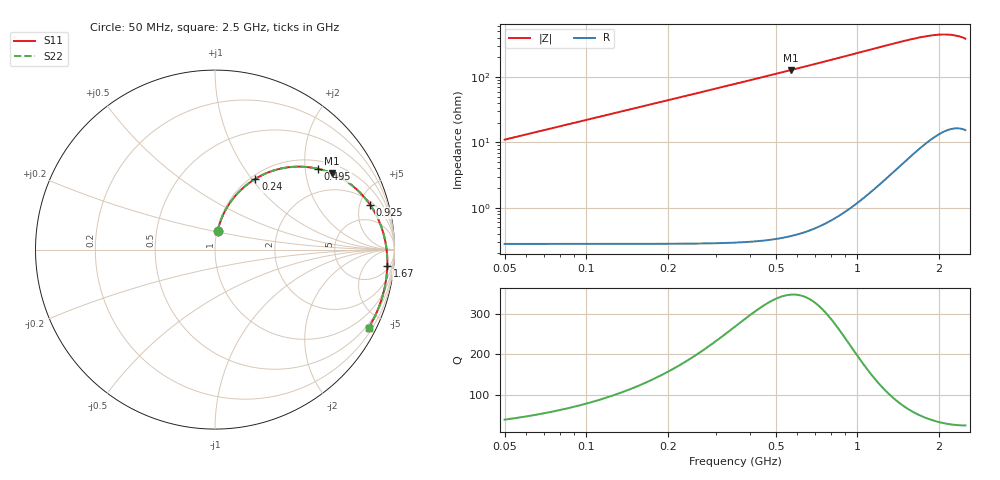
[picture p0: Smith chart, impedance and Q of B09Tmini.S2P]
! Coilcraft B09T_ Mini Spring Air Core Inductor
! 30 May 2003
# MHZ S MA R 50
!Freq  MagS11  AngS11  MagS21  AngS21  MagS12  AngS12  MagS22  AngS22
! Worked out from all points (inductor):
!   491 points, 50 MHz to 2.5 GHz, reference 50 ohm
!   read as one part in series: L = 35.1 nH near 60 MHz
!   highest Q = 347 at 570 MHz (marker M1), where L = 35.9 nH
!   S11 on the Smith chart (normalised r, x): 50 MHz: 1.01, +0.21; 240 MHz: 1.05, +1.04; 495 MHz: 1.22, +2.34; 925 MHz: 2.37, +6.18; 1.67 GHz: 7, -18; 2.5 GHz: 0.37, -4.13
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50  0.1052 82.0  0.9917 -6.5  0.9917 -6.5  0.1053 82.0
90  0.1872 77.5  0.9796 -11.7  0.9796 -11.7  0.1873 77.5
125  0.256 73.3  0.964 -16.1  0.964 -16.1  0.2561 73.3
175  0.3479 67.5  0.9349 -22.1  0.9349 -22.1  0.3481 67.5
240  0.4543 60.3  0.8883 -29.4  0.8883 -29.4  0.4545 60.3
290  0.5253 55.2  0.8484 -34.5  0.8484 -34.5  0.5255 55.2
340  0.5871 50.5  0.807 -39.3  0.807 -39.3  0.5874 50.5
395  0.6454 45.7  0.7614 -44.1  0.7614 -44.1  0.6457 45.7
460  0.7027 40.6  0.709 -49.2  0.709 -49.2  0.7031 40.6
495  0.7291 38.1  0.682 -51.7  0.682 -51.7  0.7294 38.1
570  0.7767 33.2  0.6274 -56.6  0.6274 -56.6  0.777 33.2
710  0.8406 25.4  0.5386 -64.4  0.5386 -64.4  0.841 25.4
870  0.8875 18.3  0.4568 -71.5  0.4568 -71.5  0.8879 18.3
925  0.8993 16.1  0.4328 -73.6  0.4328 -73.6  0.8997 16.1
1090  0.9258 10.3  0.3715 -79.3  0.3715 -79.3  0.9262 10.3
1275  0.9447 4.7  0.3183 -84.7  0.3183 -84.7  0.9451 4.7
1670  0.9643 -5.6  0.2447 -94.4  0.2447 -94.4  0.9648 -5.6
1685  0.9647 -5.9  0.2428 -94.7  0.2428 -94.7  0.9652 -5.9
1900  0.9684 -11.1  0.2221 -99.5  0.2221 -99.5  0.9688 -11.1
2095  0.9688 -15.9  0.2142 -103.9  0.2142 -103.9  0.9692 -15.9
2300  0.9664 -21.2  0.2182 -108.9  0.2182 -108.9  0.9668 -21.2
2500  0.9602 -27.0  0.2374 -114.5  0.2374 -114.5  0.9606 -27.0
